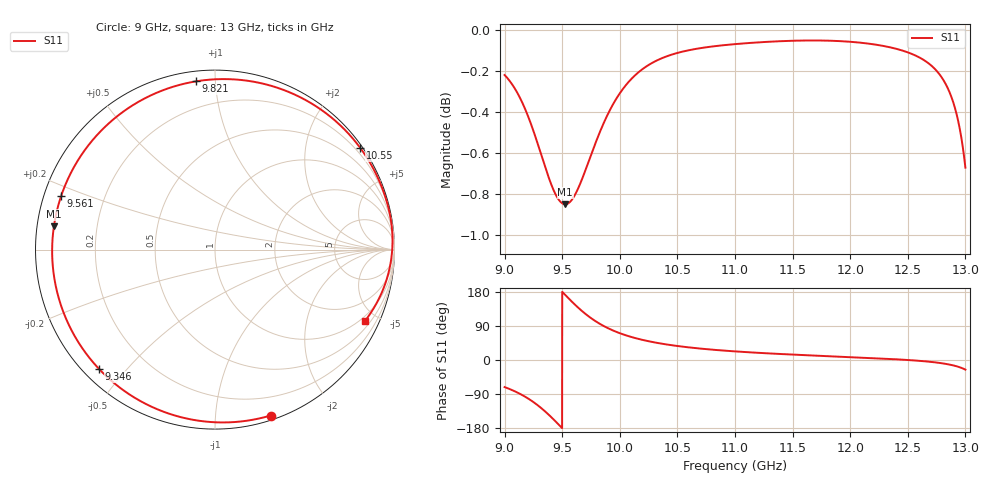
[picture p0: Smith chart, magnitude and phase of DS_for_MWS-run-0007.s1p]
! TOUCHSTONE file generated by CST DESIGN STUDIO
! Date and time: Tue Feb  4 12:50:20 2025
! Project name: C:\Work\MatlabApps\UnitCellOptimizationMatlab\CST\unitcell.cst
! Tree item: Tasks\Sweep1\SPara1\S-Parameters
! Header version: 2024
! Port assignment regex: !\s*Touchstone port\s*([0-9]+)\s*=\s*(CST MWS port|CST DES external port|CST DES block port)\s*(.+)\s* \(\"(.*)\"\)(\s*mode\s*([0-9]+))?.*
! Touchstone port assignment:
! Touchstone port 1 = CST DES external port 1 ("")
# GHz S MA R 50
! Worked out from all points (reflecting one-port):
!   4001 points, 9 GHz to 13 GHz, reference 50 ohm
!   lowest |S11| = -0.8 dB at 9.526 GHz (marker M1), VSWR 20.47, Z = 2.46 + j3.59 ohm
!   phase of S11 starts at -71 deg and turns -314 deg over the sweep
!   S11 on the Smith chart (normalised r, x): 9 GHz: 0.04, -1.39; 9.346 GHz: 0.04, -0.42; 9.561 GHz: 0.05, +0.17; 9.821 GHz: 0.05, +0.89; 10.55 GHz: 0.07, +3.17; 13 GHz: 0.78, -4.31
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9  0.9749 -71.5
9.094  0.967 -83.4
9.201  0.9531 -101.1
9.276  0.9402 -116.8
9.346  0.9271 -134.2
9.429  0.9136 -158.0
9.5  0.9074 179.9
9.526  0.9069 171.8
9.561  0.9077 160.9
9.626  0.9134 141.6
9.687  0.922 125.3
9.751  0.9324 110.3
9.821  0.9434 96.4
9.91  0.9555 82.1
10  0.965 70.7
10.102  0.9729 60.6
10.216  0.979 51.7
10.347  0.9836 43.9
10.5  0.987 37.0
10.55  0.9878 35.0
11  0.9919 22.7
11.5  0.9938 14.3
12  0.9932 7.6
12.5  0.9873 0.0
12.674  0.9816 -4.2
12.806  0.9725 -9.1
12.915  0.9558 -15.8
13  0.9256 -25.4
